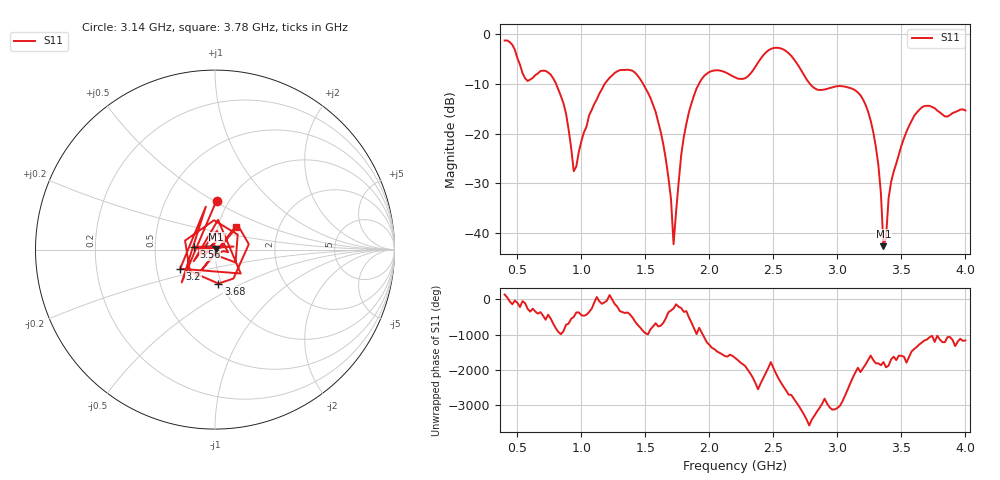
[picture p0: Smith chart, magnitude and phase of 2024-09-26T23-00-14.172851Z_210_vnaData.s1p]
!Created with skrf (http://scikit-rf.org).
# Hz S RI R 50.0
!freq ReS11 ImS11
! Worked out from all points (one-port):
!   181 points, 400 MHz to 4 GHz, reference 50 ohm
!   lowest |S11| = -42.7 dB at 3.36 GHz (marker M1), VSWR 1.01, Z = 50.7 + j0.322 ohm
!   |S11| at or under -10 dB: 802.9 MHz to 1.18 GHz (377.5 MHz wide, 38.1 % of centre); 1.483 GHz to 1.917 GHz (434.4 MHz wide, 25.6 % of centre); 2.787 GHz to end of sweep
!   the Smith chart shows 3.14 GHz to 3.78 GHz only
!   S11 on the Smith chart (normalised r, x): 3.14 GHz: 0.87, +0.52; 3.2 GHz: 0.66, -0.15; 3.56 GHz: 0.79, +0.02; 3.68 GHz: 0.97, -0.38; 3.78 GHz: 1.21, +0.32
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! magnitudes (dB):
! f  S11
! 400 MHz  -1.2
! 560 MHz  -8.8
! 740 MHz  -7.7
! 860 MHz  -13.9
! 940 MHz  -27.5
! 1.1 GHz  -14.0
! 1.3 GHz  -7.2
! 1.44 GHz  -8.3
! 1.58 GHz  -15.6
! 1.68 GHz  -28.9
! 1.72 GHz  -42.3
! 1.76 GHz  -29.7
! 1.82 GHz  -18.0
! 1.92 GHz  -9.9
! 2.2 GHz  -8.6
! 2.5 GHz  -2.7
! 2.66 GHz  -5.0
! 2.84 GHz  -11.1
! 3.1 GHz  -10.8
! 3.14 GHz  -11.3
! 3.2 GHz  -13.1
! 3.32 GHz  -26.3
! 3.36 GHz  -42.7
! 3.42 GHz  -29.6
! 3.56 GHz  -18.4
! 3.68 GHz  -14.4
! 3.78 GHz  -15.3
! 4 GHz  -15.3
